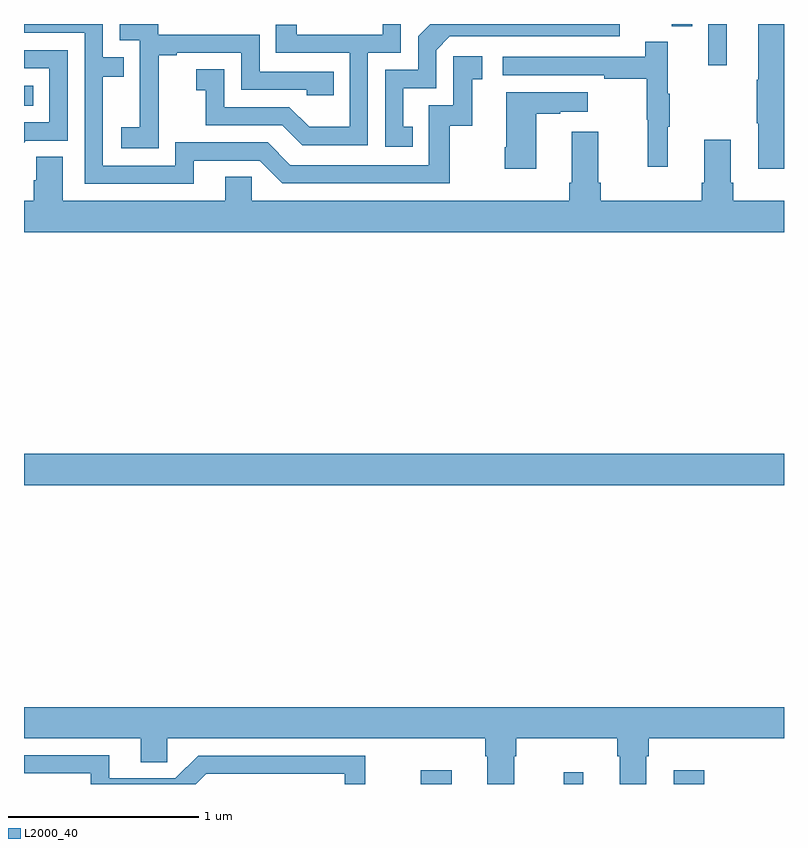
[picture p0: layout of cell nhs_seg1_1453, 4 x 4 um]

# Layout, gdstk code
import gdstk
lib = gdstk.Library(unit=1e-6, precision=1e-09)
def R(c, l, rs):  # rectangles x0, y0, x1, y1
    for r in rs: c.add(gdstk.rectangle(r[:2], r[2:], *l))
def P(c, l, *ps):  # polygons
    for p in ps: c.add(gdstk.Polygon(p, *l))
L2000_40 = (2000, 40)

nhs_seg1_1453 = lib.new_cell('nhs_seg1_1453')
R(nhs_seg1_1453, L2000_40, [(193.087,510.199,193.252,510.271), (193.84,510.199,193.943,510.262), (194.42,510.199,194.579,510.271), (191,511.772,195,511.936), (191,513.77,191.048,513.874), (194.601,513.981,194.698,514.199), (194.408,514.186,194.516,514.199)])
P(nhs_seg1_1453, L2000_40, [(195,514.199),(194.864,514.199),(194.864,513.906),(194.857,513.906),(194.857,513.676),(194.864,513.676),(194.864,513.438),(195,513.438)],
  [(193.046,513.657),(192.997,513.657),(192.997,513.861),(193.17,513.861),(193.17,514.062),(193.242,514.134),(194.136,514.134),(194.136,514.199),(193.139,514.199),(193.074,514.134),(193.074,513.957),(192.9,513.957),(192.9,513.552),(193.046,513.552)],
  [(191.709,513.751),(191.708,513.751),(191.708,514.035),(191.803,514.035),(191.803,514.047),(192.144,514.047),(192.144,513.852),(192.489,513.852),(192.489,513.825),(192.629,513.825),(192.629,513.948),(192.24,513.948),(192.24,514.143),(191.706,514.143),(191.706,514.199),(191.505,514.199),(191.505,514.113),(191.61,514.113),(191.61,513.884),(191.609,513.884),(191.609,513.655),(191.511,513.655),(191.511,513.545),(191.709,513.545)],
  [(192.81,514.047),(192.984,514.047),(192.984,514.199),(192.887,514.199),(192.887,514.143),(192.436,514.143),(192.436,514.195),(192.325,514.195),(192.325,514.047),(192.714,514.047),(192.714,513.658),(192.5,513.658),(192.396,513.762),(192.054,513.762),(192.054,513.961),(191.907,513.961),(191.907,513.851),(191.956,513.851),(191.956,513.666),(192.359,513.666),(192.464,513.561),(192.81,513.561)],
  [(191.893,513.48),(192.24,513.48),(192.36,513.36),(193.24,513.36),(193.24,513.663),(193.358,513.663),(193.358,513.909),(193.411,513.909),(193.411,514.03),(193.26,514.03),(193.26,513.771),(193.131,513.771),(193.131,513.456),(192.402,513.456),(192.282,513.576),(191.796,513.576),(191.796,513.453),(191.415,513.453),(191.415,513.922),(191.525,513.922),(191.525,514.023),(191.415,514.023),(191.415,514.199),(191,514.199),(191,514.152),(191.319,514.152),(191.319,513.357),(191.893,513.357)],
  [(194.387,513.659),(194.398,513.659),(194.398,513.833),(194.387,513.833),(194.387,514.105),(194.269,514.105),(194.269,514.026),(193.521,514.026),(193.521,513.93),(194.053,513.93),(194.053,513.91),(194.277,513.91),(194.277,513.696),(194.284,513.696),(194.284,513.447),(194.387,513.447)],
  [(191.01,513.585),(191.229,513.585),(191.229,514.062),(191,514.062),(191,513.966),(191.133,513.966),(191.133,513.681),(191,513.681),(191,513.575)],
  [(193.696,513.727),(193.823,513.727),(193.823,513.737),(193.966,513.737),(193.966,513.841),(193.538,513.841),(193.538,513.55),(193.531,513.55),(193.531,513.438),(193.696,513.438)],
  [(195,513.268),(194.732,513.268),(194.732,513.364),(194.719,513.364),(194.719,513.589),(194.579,513.589),(194.579,513.364),(194.567,513.364),(194.567,513.268),(194.036,513.268),(194.036,513.364),(194.023,513.364),(194.023,513.631),(193.883,513.631),(193.883,513.364),(193.871,513.364),(193.871,513.268),(192.198,513.268),(192.198,513.395),(192.059,513.395),(192.059,513.268),(191.203,513.268),(191.203,513.5),(191.064,513.5),(191.064,513.377),(191.051,513.377),(191.051,513.268),(191,513.268),(191,513.104),(195,513.104)],
  [(193.579,510.344),(193.592,510.344),(193.592,510.44),(194.123,510.44),(194.123,510.344),(194.135,510.344),(194.135,510.199),(194.275,510.199),(194.275,510.344),(194.288,510.344),(194.288,510.44),(195,510.44),(195,510.604),(191,510.604),(191,510.44),(191.615,510.44),(191.615,510.313),(191.754,510.313),(191.754,510.44),(193.427,510.44),(193.427,510.344),(193.439,510.344),(193.439,510.199),(193.579,510.199)],
  [(191.958,510.252),(192.687,510.252),(192.687,510.199),(192.796,510.199),(192.796,510.348),(191.916,510.348),(191.796,510.228),(191.449,510.228),(191.449,510.351),(191,510.351),(191,510.255),(191.352,510.255),(191.352,510.199),(191.905,510.199)])

lib.write_gds('nhs_seg1_1453.gds')
